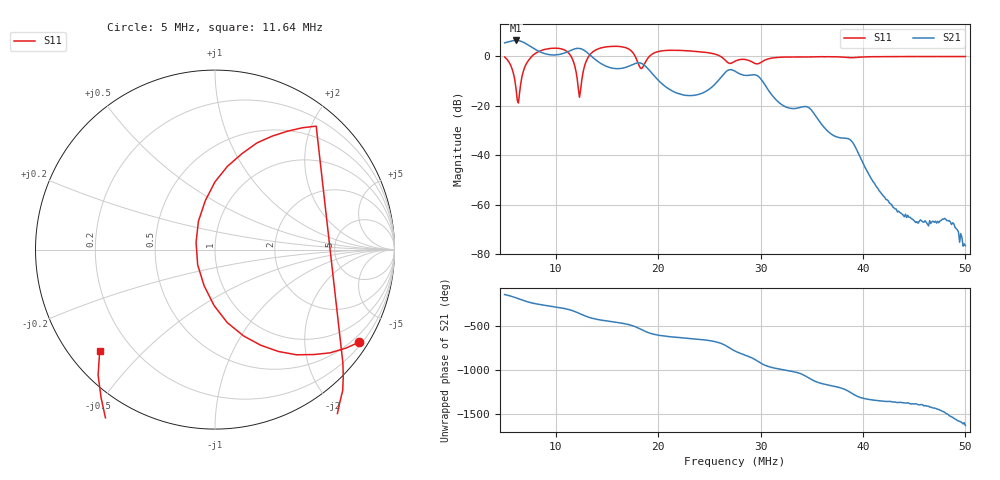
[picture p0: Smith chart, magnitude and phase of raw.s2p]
! S11/S21 only; reverse parameters are placeholders. Device calibration unverified.
! NanoVNA F V2 profile | COM3 | 2026-09-08T12:02:41.2400163-04:00 | device calibration unverified
# HZ S RI R 50
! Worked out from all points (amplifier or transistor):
!   401 points, 5 MHz to 50 MHz, reference 50 ohm
!   highest |S21| = 6.3 dB at 6.125 MHz (marker M1)
!   |S21| within 3 dB of that: start of sweep to 7.742 MHz
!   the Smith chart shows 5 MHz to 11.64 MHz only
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5000000  0.8035 -0.5158  -1.436 -1.159  0 0  0 0
6125000  -0.0607 -0.2013  -2.062 -0.0367  0 0  0 0
7250000  0.4027 0.6593  -1.217 1.177  0 0  0 0
7812500  0.7117 -0.7834  -0.703 1.245  0 0  0 0
1.00625e7  0.00575 -1.44  0.2397 1.03  0 0  0 0
1.1525e7  -0.6512 -0.7001  1.015 0.8363  0 0  0 0
1.25375e7  0.269 0.1848  1.368 -0.2008  0 0  0 0
1.38875e7  1.151 -0.6488  0.4233 -0.7269  0 0  0 0
1.63625e7  0.4932 -1.463  -0.1463 -0.5425  0 0  0 0
1.72625e7  -0.26 -1.297  -0.3886 -0.5079  0 0  0 0
1.79375e7  -0.7409 -0.3232  -0.6569 -0.2992  0 0  0 0
1.8725e7  0.2933 0.6691  -0.5983 0.2108  0 0  0 0
2.0075e7  1.242 0.027  -0.1353 0.2847  0 0  0 0
2.49125e7  0.938 -0.6849  0.1141 0.1752  0 0  0 0
2.67125e7  0.5527 -0.5272  0.4944 -0.0804  0 0  0 0
2.75e7  0.701 -0.3559  0.2223 -0.4407  0 0  0 0
2.9525e7  0.6095 -0.345  -0.401 -0.1045  0 0  0 0
3.50375e7  0.6958 -0.6612  0.0657 -0.041  0 0  0 0
3.88625e7  0.5398 -0.7513  -0.0194 8.1e-05  0 0  0 0
4.2575e7  0.4414 -0.8696  0.000141 0.00108  0 0  0 0
4.82e7  0.2286 -0.9499  0.000256 -0.000402  0 0  0 0
5e7  0.1589 -0.9638  -0.000146 2.5e-05  0 0  0 0
